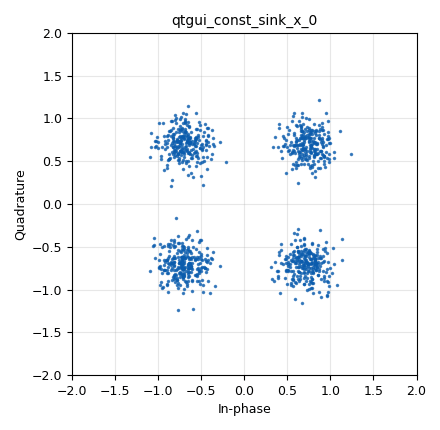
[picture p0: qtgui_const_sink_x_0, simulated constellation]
options:
  parameters:
    author: wes
    generate_options: qt_gui
    id: lab5_qpsk
    output_language: python
    title: QPSK and Gray Coding
  states: {}

blocks:
- name: const_gray
  id: variable_constellation
  parameters:
    const_points: digital.psk_4()[0]
    dims: '1'
    precision: '8'
    rot_sym: '2'
    sym_map: digital.psk_4()[1]
    type: calcdist
  states: {}
- name: const_non_gray
  id: variable_constellation
  parameters:
    const_points: '[1+0j,0+1j,-1+0j,0-1j]'
    dims: '1'
    precision: '8'
    rot_sym: '2'
    sym_map: digital.psk_4()[1]
    type: calcdist
  states: {}
- name: eb_no_db
  id: variable_qtgui_range
  parameters:
    label: Eb/No (dB)
    orient: Qt.Horizontal
    start: '0'
    step: '0.5'
    stop: '20'
    value: '10'
  states: {}
- name: frame_size
  id: variable
  parameters:
    value: '4096'
  states: {}
- name: reset_ber
  id: variable_qtgui_push_button
  parameters:
    label: Reset BER
    pressed: '1'
    released: '0'
    type: int
    value: '0'
  states: {}
- name: samp_rate
  id: variable
  parameters:
    value: '32000'
  states: {state: disabled}
- name: analog_noise_source_x_0
  id: analog_noise_source_x
  parameters:
    amp: math.sqrt( 0.5 / ( math.pow(10, eb_no_db/10) ) )
    noise_type: analog.GR_GAUSSIAN
    seed: '0'
    type: complex
  states: {}
- name: analog_noise_source_x_0_0
  id: analog_noise_source_x
  parameters:
    amp: math.sqrt( 0.5 / ( math.pow(10, eb_no_db/10) ) )
    noise_type: analog.GR_GAUSSIAN
    seed: '0'
    type: complex
  states: {}
- name: analog_random_source_x_0
  id: analog_random_source_x
  parameters:
    max: '4'
    maxoutbuf: frame_size
    min: '0'
    minoutbuf: frame_size
    num_samps: frame_size
    repeat: 'True'
    type: byte
  states: {}
- name: blocks_add_xx_0
  id: blocks_add_xx
  parameters:
    type: complex
  states: {}
- name: blocks_add_xx_0_0
  id: blocks_add_xx
  parameters:
    type: complex
  states: {}
- name: digital_chunks_to_symbols_xx_0
  id: digital_chunks_to_symbols_xx
  parameters:
    dimension: '1'
    in_type: byte
    out_type: complex
    symbol_table: const_non_gray.points()
  states: {}
- name: digital_chunks_to_symbols_xx_0_0
  id: digital_chunks_to_symbols_xx
  parameters:
    dimension: '1'
    in_type: byte
    out_type: complex
    symbol_table: const_gray.points()
  states: {}
- name: digital_constellation_decoder_cb_0
  id: digital_constellation_decoder_cb
  parameters:
    constellation: const_non_gray
  states: {}
- name: digital_constellation_decoder_cb_0_0
  id: digital_constellation_decoder_cb
  parameters:
    constellation: const_gray
  states: {}
- name: import_0
  id: import
  parameters:
    imports: import math
  states: {}
- name: qtgui_const_sink_x_0
  id: qtgui_const_sink_x
  parameters:
    size: '1024'
    type: complex
  states: {}
- name: qtgui_number_sink_0_0_0_0
  id: qtgui_number_sink
  parameters:
    graph_type: qtgui.NUM_GRAPH_NONE
    label1: BER
    label2: '# Errors'
    name: '"Non-Gray Coded"'
    nconnections: '2'
    type: float
  states: {}
- name: qtgui_number_sink_0_0_0_0_0
  id: qtgui_number_sink
  parameters:
    graph_type: qtgui.NUM_GRAPH_NONE
    label1: BER
    label2: '# Errors'
    name: '"Gray Coded"'
    nconnections: '2'
    type: float
  states: {}
- name: wes_ber_0
  id: wes_ber
  parameters:
    bits_per_byte: '2'
    reset_ber: reset_ber
  states: {}
- name: wes_ber_0_0
  id: wes_ber
  parameters:
    bits_per_byte: '2'
    reset_ber: reset_ber
  states: {}

connections:
- [analog_noise_source_x_0, '0', blocks_add_xx_0, '1']
- [analog_noise_source_x_0_0, '0', blocks_add_xx_0_0, '1']
- [analog_random_source_x_0, '0', digital_chunks_to_symbols_xx_0, '0']
- [analog_random_source_x_0, '0', digital_chunks_to_symbols_xx_0_0, '0']
- [analog_random_source_x_0, '0', wes_ber_0, '1']
- [analog_random_source_x_0, '0', wes_ber_0_0, '0']
- [blocks_add_xx_0, '0', digital_constellation_decoder_cb_0, '0']
- [blocks_add_xx_0_0, '0', digital_constellation_decoder_cb_0_0, '0']
- [blocks_add_xx_0_0, '0', qtgui_const_sink_x_0, '0']
- [digital_chunks_to_symbols_xx_0, '0', blocks_add_xx_0, '0']
- [digital_chunks_to_symbols_xx_0_0, '0', blocks_add_xx_0_0, '0']
- [digital_constellation_decoder_cb_0, '0', wes_ber_0, '0']
- [digital_constellation_decoder_cb_0_0, '0', wes_ber_0_0, '1']
- [wes_ber_0, '0', qtgui_number_sink_0_0_0_0, '0']
- [wes_ber_0, '1', qtgui_number_sink_0_0_0_0, '1']
- [wes_ber_0_0, '0', qtgui_number_sink_0_0_0_0_0, '0']
- [wes_ber_0_0, '1', qtgui_number_sink_0_0_0_0_0, '1']

metadata:
  file_format: 1
